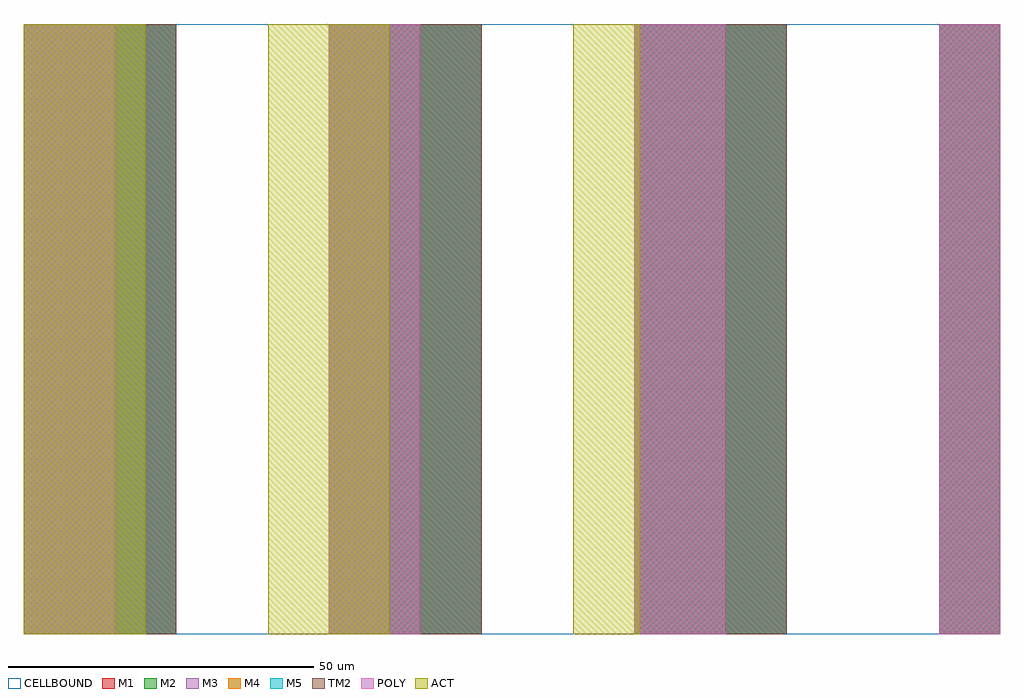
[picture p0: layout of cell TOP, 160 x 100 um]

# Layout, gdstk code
import gdstk
lib = gdstk.Library(unit=1e-6, precision=1e-09)
def R(c, l, rs):  # rectangles x0, y0, x1, y1
    for r in rs: c.add(gdstk.rectangle(r[:2], r[2:], *l))
def A(c, l, x, y, w, h, nx, ny, dx, dy):  # array of equal rectangles
    R(c, l, [(x+i*dx, y+j*dy, x+i*dx+w, y+j*dy+h) for i in range(nx) for j in range(ny)])
ACT = (2, 1)
POLY = (41, 1)
M1 = (81, 1)
M2 = (82, 1)
M3 = (83, 1)
M4 = (84, 1)
M5 = (85, 1)
TM2 = (103, 1)
CELLBOUND = (351, 12)

top = lib.new_cell('TOP')
R(top, ACT, [(0,0,20,100), (40,0,60,100), (90,0,101,100)])
A(top, POLY, 0, 0, 15, 100, 3, 1, 50, 0)
R(top, POLY, [(150,0,160,100)])
A(top, M1, 0, 0, 25, 100, 3, 1, 50, 0)
R(top, M1, [(150,0,160,100)])
A(top, M2, 0, 0, 25, 100, 3, 1, 50, 0)
R(top, M2, [(150,0,160,100)])
A(top, M3, 0, 0, 25, 100, 3, 1, 50, 0)
R(top, M3, [(150,0,160,100)])
A(top, M4, 0, 0, 25, 100, 3, 1, 50, 0)
R(top, M4, [(150,0,160,100)])
A(top, M5, 0, 0, 25, 100, 3, 1, 50, 0)
R(top, M5, [(150,0,160,100)])
A(top, TM2, 0, 0, 25, 100, 3, 1, 50, 0)
R(top, TM2, [(150,0,160,100)])
R(top, CELLBOUND, [(0,0,160,100)])

lib.write_gds('TOP.gds')
